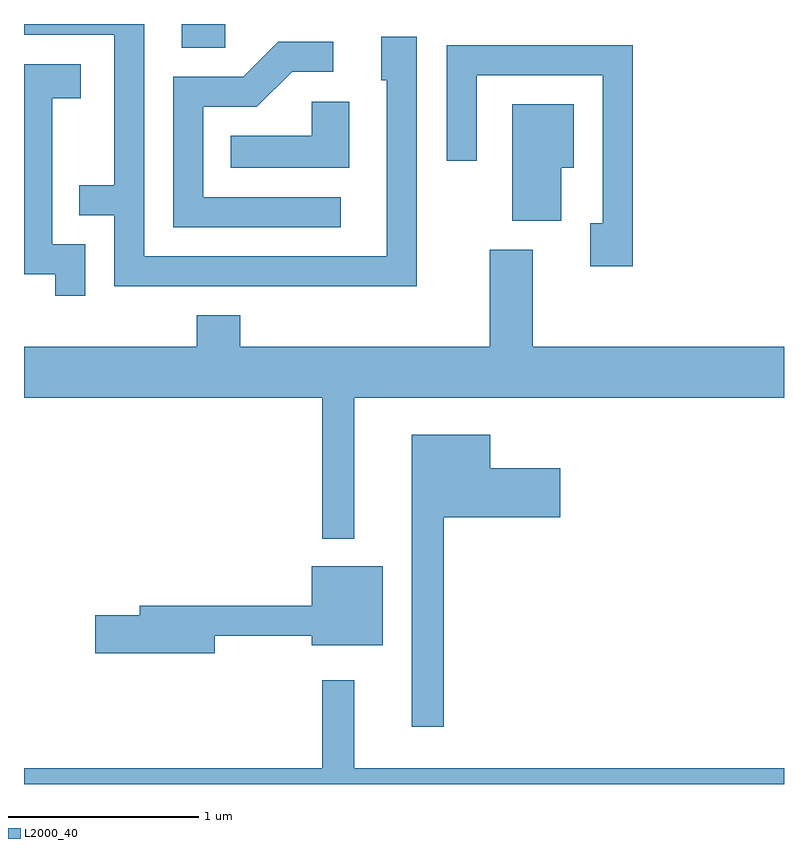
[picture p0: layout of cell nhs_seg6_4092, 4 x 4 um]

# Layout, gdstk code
import gdstk
lib = gdstk.Library(unit=1e-6, precision=1e-09)
def R(c, l, rs):  # rectangles x0, y0, x1, y1
    for r in rs: c.add(gdstk.rectangle(r[:2], r[2:], *l))
def P(c, l, *ps):  # polygons
    for p in ps: c.add(gdstk.Polygon(p, *l))
L2000_40 = (2000, 40)

nhs_seg6_4092 = lib.new_cell('nhs_seg6_4092')
R(nhs_seg6_4092, L2000_40, [(310.441,1614.036,310.669,1614.162)])
P(nhs_seg6_4092, L2000_40, [(311.679,1614.094),(311.491,1614.094),(311.491,1613.866),(311.521,1613.866),(311.521,1612.939),(310.244,1612.939),(310.244,1614.162),(309.611,1614.162),(309.611,1614.106),(310.086,1614.106),(310.086,1613.314),(309.903,1613.314),(309.903,1613.156),(310.086,1613.156),(310.086,1612.781),(311.679,1612.781)],
  [(311.278,1613.249),(310.554,1613.249),(310.554,1613.726),(310.837,1613.726),(311.022,1613.911),(311.238,1613.911),(311.238,1614.069),(310.949,1614.069),(310.764,1613.884),(310.396,1613.884),(310.396,1613.091),(311.278,1613.091)],
  [(312.814,1614.049),(311.836,1614.049),(311.836,1613.443),(311.994,1613.443),(311.994,1613.891),(312.656,1613.891),(312.656,1613.114),(312.591,1613.114),(312.591,1612.886),(312.814,1612.886)],
  [(309.934,1613.004),(309.759,1613.004),(309.759,1613.771),(309.909,1613.771),(309.909,1613.949),(309.611,1613.949),(309.611,1612.846),(309.776,1612.846),(309.776,1612.733),(309.934,1612.733)],
  [(311.324,1613.754),(311.126,1613.754),(311.126,1613.574),(310.698,1613.574),(310.698,1613.406),(311.324,1613.406)],
  [(312.439,1613.406),(312.504,1613.406),(312.504,1613.739),(312.181,1613.739),(312.181,1613.126),(312.439,1613.126)],
  [(311.349,1612.196),(313.611,1612.196),(313.611,1612.464),(312.289,1612.464),(312.289,1612.974),(312.061,1612.974),(312.061,1612.464),(310.749,1612.464),(310.749,1612.629),(310.521,1612.629),(310.521,1612.464),(309.611,1612.464),(309.611,1612.196),(311.181,1612.196),(311.181,1611.453),(311.349,1611.453)],
  [(311.819,1611.566),(312.434,1611.566),(312.434,1611.824),(312.064,1611.824),(312.064,1611.999),(311.651,1611.999),(311.651,1610.463),(311.819,1610.463)],
  [(310.614,1610.941),(311.126,1610.941),(311.126,1610.891),(311.499,1610.891),(311.499,1611.309),(311.126,1611.309),(311.126,1611.099),(310.221,1611.099),(310.221,1611.049),(309.986,1611.049),(309.986,1610.851),(310.614,1610.851)],
  [(313.611,1610.244),(311.349,1610.244),(311.349,1610.708),(311.181,1610.708),(311.181,1610.244),(309.611,1610.244),(309.611,1610.162),(313.611,1610.162)])

lib.write_gds('nhs_seg6_4092.gds')
